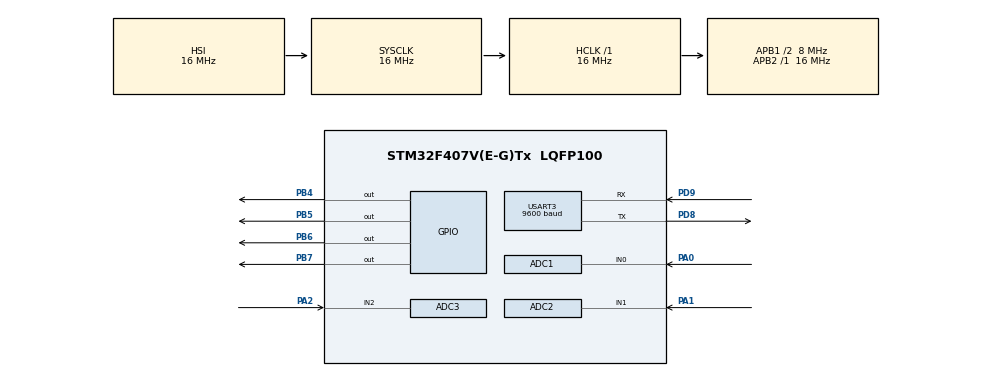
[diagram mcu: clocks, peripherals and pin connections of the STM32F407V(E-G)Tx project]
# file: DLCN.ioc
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ADC1.Channel-0\#ChannelRegularConversion=ADC_CHANNEL_0
ADC1.NbrOfConversion=1
ADC1.NbrOfConversionFlag=1
ADC1.Rank-0\#ChannelRegularConversion=1
ADC1.SamplingTime-0\#ChannelRegularConversion=ADC_SAMPLETIME_3CYCLES
ADC1.master=1
ADC2.Channel-1\#ChannelRegularConversion=ADC_CHANNEL_1
ADC2.NbrOfConversionFlag=1
ADC2.Rank-1\#ChannelRegularConversion=1
ADC2.SamplingTime-1\#ChannelRegularConversion=ADC_SAMPLETIME_3CYCLES
ADC3.Channel-0\#ChannelRegularConversion=ADC_CHANNEL_2
ADC3.NbrOfConversionFlag=1
ADC3.Rank-0\#ChannelRegularConversion=1
ADC3.SamplingTime-0\#ChannelRegularConversion=ADC_SAMPLETIME_3CYCLES
Dma.Request0=USART3_RX
Dma.Request1=USART3_TX
Dma.USART3_RX.0.Direction=DMA_PERIPH_TO_MEMORY
Dma.USART3_RX.0.FIFOMode=DMA_FIFOMODE_DISABLE
Dma.USART3_RX.0.Instance=DMA1_Stream1
Dma.USART3_RX.0.MemDataAlignment=DMA_MDATAALIGN_BYTE
Dma.USART3_RX.0.MemInc=DMA_MINC_ENABLE
Dma.USART3_RX.0.Mode=DMA_CIRCULAR
Dma.USART3_RX.0.PeriphDataAlignment=DMA_PDATAALIGN_BYTE
Dma.USART3_RX.0.PeriphInc=DMA_PINC_DISABLE
Dma.USART3_RX.0.Priority=DMA_PRIORITY_LOW
Dma.USART3_TX.1.Direction=DMA_MEMORY_TO_PERIPH
Dma.USART3_TX.1.FIFOMode=DMA_FIFOMODE_DISABLE
Dma.USART3_TX.1.Instance=DMA1_Stream3
Dma.USART3_TX.1.MemDataAlignment=DMA_MDATAALIGN_BYTE
Dma.USART3_TX.1.MemInc=DMA_MINC_ENABLE
Dma.USART3_TX.1.Mode=DMA_CIRCULAR
Dma.USART3_TX.1.PeriphDataAlignment=DMA_PDATAALIGN_BYTE
Dma.USART3_TX.1.PeriphInc=DMA_PINC_DISABLE
Dma.USART3_TX.1.Priority=DMA_PRIORITY_LOW
FREERTOS.BinarySemaphores01=USART_SEMA,Dynamic,NULL
FREERTOS.Tasks01=defaultTask,1,128,Task1_ADC,Default,NULL,Dynamic,NULL,NULL;myTask02,0,128,Task2_TX,Default,NULL,Dynamic,NULL,NULL;myTask03,-1,128,Task3_RX,Default,NULL,Dynamic,NULL,NULL
Mcu.Family=STM32F4
Mcu.Name=STM32F407V(E-G)Tx
Mcu.Package=LQFP100
NVIC.DMA1_Stream1_IRQn=true\:5\:0\:false\:false\:true\:true\:false\:true\:true
NVIC.DMA1_Stream3_IRQn=true\:5\:0\:false\:false\:true\:true\:false\:true\:true
NVIC.PriorityGroup=NVIC_PRIORITYGROUP_4
NVIC.TIM4_IRQn=true\:15\:0\:false\:false\:true\:false\:false\:true\:true
NVIC.TimeBase=TIM4_IRQn
NVIC.TimeBaseIP=TIM4
PA0-WKUP.Signal=ADCx_IN0
PA1.Signal=ADCx_IN1
PA13.Mode=Serial_Wire
PA13.Signal=SYS_JTMS-SWDIO
PA14.Mode=Serial_Wire
PA14.Signal=SYS_JTCK-SWCLK
PA2.Signal=ADCx_IN2
PB4.Signal=GPIO_Output
PB5.Signal=GPIO_Output
PB6.Signal=GPIO_Output
PB7.Signal=GPIO_Output
PD8.Mode=Asynchronous
PD8.Signal=USART3_TX
PD9.Mode=Asynchronous
PD9.Signal=USART3_RX
PH0-OSC_IN.Mode=HSE-External-Oscillator
PH0-OSC_IN.Signal=RCC_OSC_IN
PH1-OSC_OUT.Mode=HSE-External-Oscillator
PH1-OSC_OUT.Signal=RCC_OSC_OUT
ProjectManager.HeapSize=0x200
ProjectManager.StackSize=0x400
ProjectManager.TargetToolchain=MDK-ARM V5.32
RCC.48MHZClocksFreq_Value=26041666.666666664
RCC.AHBFreq_Value=16000000
RCC.APB1CLKDivider=RCC_HCLK_DIV2
RCC.APB1Freq_Value=8000000
RCC.APB1TimFreq_Value=16000000
RCC.APB2Freq_Value=16000000
RCC.APB2TimFreq_Value=16000000
RCC.CortexFreq_Value=16000000
RCC.HCLKFreq_Value=16000000
RCC.HSE_VALUE=25000000
RCC.HSI_VALUE=16000000
RCC.LSE_VALUE=32768
RCC.PLLM=12
RCC.PLLN=50
RCC.PLLSourceVirtual=RCC_PLLSOURCE_HSE
RCC.SYSCLKFreq_VALUE=16000000
RCC.VCOOutputFreq_Value=104166666.66666666
SH.ADCx_IN0.0=ADC1_IN0,IN0
SH.ADCx_IN1.0=ADC2_IN1,IN1
SH.ADCx_IN2.0=ADC3_IN2,IN2
USART3.BaudRate=9600
USART3.VirtualMode=VM_ASYNC
VP_FREERTOS_VS_CMSIS_V1.Mode=CMSIS_V1
VP_SYS_VS_tim4.Mode=TIM4
board=custom

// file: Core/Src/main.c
/* USER CODE BEGIN Header */
/**
  ******************************************************************************
  * @file           : main.c
  * @brief          : Main program body
  ******************************************************************************
  * @attention
  *
  * Copyright (c) 2023 STMicroelectronics.
  * All rights reserved.
  *
  * This software is licensed under terms that can be found in the LICENSE file
  * in the root directory of this software component.
  * If no LICENSE file comes with this software, it is provided AS-IS.
  *
  ******************************************************************************
  */
/* USER CODE END Header */
#include "main.h"
#include "cmsis_os.h"

ADC_HandleTypeDef hadc1;
ADC_HandleTypeDef hadc2;
ADC_HandleTypeDef hadc3;

UART_HandleTypeDef huart3;
DMA_HandleTypeDef hdma_usart3_rx;
DMA_HandleTypeDef hdma_usart3_tx;

osThreadId defaultTaskHandle;
osThreadId myTask02Handle;
osThreadId myTask03Handle;
osSemaphoreId USART_SEMAHandle;
/* USER CODE BEGIN PV */
__IO uint32_t TX_Buffer[5];
__IO uint8_t RX_Buffer[8];
uint32_t Process_value(uint32_t value);
/* USER CODE END PV */

void SystemClock_Config(void);
static void MX_GPIO_Init(void);
static void MX_DMA_Init(void);
static void MX_ADC1_Init(void);
static void MX_ADC2_Init(void);
static void MX_ADC3_Init(void);
static void MX_USART3_UART_Init(void);
void Task1_ADC(void const * argument);
void Task2_TX(void const * argument);
void Task3_RX(void const * argument);

/* USER CODE BEGIN 0 */
uint32_t Process_value(uint32_t value)
{
	uint32_t i,output = 0;
	for (i = 1; i <= 4; i++)
	{
		output <<= 8;
		output = output + ((value%10)+48);
		value /= 10;
	}
	return output;
}
/* USER CODE END 0 */

int main(void)
{

  /* MCU Configuration--------------------------------------------------------*/

  /* Reset of all peripherals, Initializes the Flash interface and the Systick. */
  HAL_Init();

  /* Configure the system clock */
  SystemClock_Config();

  /* Initialize all configured peripherals */
  MX_GPIO_Init();
  MX_DMA_Init();
  MX_ADC1_Init();
  MX_ADC2_Init();
  MX_ADC3_Init();
  MX_USART3_UART_Init();

  /* Create the semaphores(s) */
  /* definition and creation of USART_SEMA */
  osSemaphoreDef(USART_SEMA);
  USART_SEMAHandle = osSemaphoreCreate(osSemaphore(USART_SEMA), 1);

  /* Create the thread(s) */
  /* definition and creation of defaultTask */
  osThreadDef(defaultTask, Task1_ADC, osPriorityAboveNormal, 0, 128);
  defaultTaskHandle = osThreadCreate(osThread(defaultTask), NULL);

  /* definition and creation of myTask02 */
  osThreadDef(myTask02, Task2_TX, osPriorityNormal, 0, 128);
  myTask02Handle = osThreadCreate(osThread(myTask02), NULL);

  /* definition and creation of myTask03 */
  osThreadDef(myTask03, Task3_RX, osPriorityBelowNormal, 0, 128);
  myTask03Handle = osThreadCreate(osThread(myTask03), NULL);

  /* Start scheduler */
  osKernelStart();
  /* We should never get here as control is now taken by the scheduler */
  /* Infinite loop */
while (1)
  {

  }
}

void SystemClock_Config(void)
{
  RCC_OscInitTypeDef RCC_OscInitStruct = {0};
  RCC_ClkInitTypeDef RCC_ClkInitStruct = {0};

  /** Configure the main internal regulator output voltage
  */
  __HAL_RCC_PWR_CLK_ENABLE();
  __HAL_PWR_VOLTAGESCALING_CONFIG(PWR_REGULATOR_VOLTAGE_SCALE1);

  /** Initializes the RCC Oscillators according to the specified parameters
  * in the RCC_OscInitTypeDef structure.
  */
  RCC_OscInitStruct.OscillatorType = RCC_OSCILLATORTYPE_HSI;
  RCC_OscInitStruct.HSIState = RCC_HSI_ON;
  RCC_OscInitStruct.HSICalibrationValue = RCC_HSICALIBRATION_DEFAULT;
  RCC_OscInitStruct.PLL.PLLState = RCC_PLL_NONE;
  if (HAL_RCC_OscConfig(&RCC_OscInitStruct) != HAL_OK)
  {
    Error_Handler();
  }

  /** Initializes the CPU, AHB and APB buses clocks
  */
  RCC_ClkInitStruct.ClockType = RCC_CLOCKTYPE_HCLK|RCC_CLOCKTYPE_SYSCLK
                              |RCC_CLOCKTYPE_PCLK1|RCC_CLOCKTYPE_PCLK2;
  RCC_ClkInitStruct.SYSCLKSource = RCC_SYSCLKSOURCE_HSI;
  RCC_ClkInitStruct.AHBCLKDivider = RCC_SYSCLK_DIV1;
  RCC_ClkInitStruct.APB1CLKDivider = RCC_HCLK_DIV2;
  RCC_ClkInitStruct.APB2CLKDivider = RCC_HCLK_DIV1;

  if (HAL_RCC_ClockConfig(&RCC_ClkInitStruct, FLASH_LATENCY_0) != HAL_OK)
  {
    Error_Handler();
  }
}

static void MX_ADC1_Init(void)
{

  ADC_ChannelConfTypeDef sConfig = {0};

  /** Configure the global features of the ADC (Clock, Resolution, Data Alignment and number of conversion)
  */
  hadc1.Instance = ADC1;
  hadc1.Init.ClockPrescaler = ADC_CLOCK_SYNC_PCLK_DIV2;
  hadc1.Init.Resolution = ADC_RESOLUTION_12B;
  hadc1.Init.ScanConvMode = DISABLE;
  hadc1.Init.ContinuousConvMode = DISABLE;
  hadc1.Init.DiscontinuousConvMode = DISABLE;
  hadc1.Init.ExternalTrigConvEdge = ADC_EXTERNALTRIGCONVEDGE_NONE;
  hadc1.Init.ExternalTrigConv = ADC_SOFTWARE_START;
  hadc1.Init.DataAlign = ADC_DATAALIGN_RIGHT;
  hadc1.Init.NbrOfConversion = 1;
  hadc1.Init.DMAContinuousRequests = DISABLE;
  hadc1.Init.EOCSelection = ADC_EOC_SINGLE_CONV;
  if (HAL_ADC_Init(&hadc1) != HAL_OK)
  {
    Error_Handler();
  }

  /** Configure for the selected ADC regular channel its corresponding rank in the sequencer and its sample time.
  */
  sConfig.Channel = ADC_CHANNEL_0;
  sConfig.Rank = 1;
  sConfig.SamplingTime = ADC_SAMPLETIME_3CYCLES;
  if (HAL_ADC_ConfigChannel(&hadc1, &sConfig) != HAL_OK)
  {
    Error_Handler();
  }

}

static void MX_ADC2_Init(void)
{

  ADC_ChannelConfTypeDef sConfig = {0};

  /** Configure the global features of the ADC (Clock, Resolution, Data Alignment and number of conversion)
  */
  hadc2.Instance = ADC2;
  hadc2.Init.ClockPrescaler = ADC_CLOCK_SYNC_PCLK_DIV2;
  hadc2.Init.Resolution = ADC_RESOLUTION_12B;
  hadc2.Init.ScanConvMode = DISABLE;
  hadc2.Init.ContinuousConvMode = DISABLE;
  hadc2.Init.DiscontinuousConvMode = DISABLE;
  hadc2.Init.ExternalTrigConvEdge = ADC_EXTERNALTRIGCONVEDGE_NONE;
  hadc2.Init.ExternalTrigConv = ADC_SOFTWARE_START;
  hadc2.Init.DataAlign = ADC_DATAALIGN_RIGHT;
  hadc2.Init.NbrOfConversion = 1;
  hadc2.Init.DMAContinuousRequests = DISABLE;
  hadc2.Init.EOCSelection = ADC_EOC_SINGLE_CONV;
  if (HAL_ADC_Init(&hadc2) != HAL_OK)
  {
    Error_Handler();
  }

  /** Configure for the selected ADC regular channel its corresponding rank in the sequencer and its sample time.
  */
  sConfig.Channel = ADC_CHANNEL_1;
  sConfig.Rank = 1;
  sConfig.SamplingTime = ADC_SAMPLETIME_3CYCLES;
  if (HAL_ADC_ConfigChannel(&hadc2, &sConfig) != HAL_OK)
  {
    Error_Handler();
  }

}

static void MX_ADC3_Init(void)
{

  ADC_ChannelConfTypeDef sConfig = {0};

  /** Configure the global features of the ADC (Clock, Resolution, Data Alignment and number of conversion)
  */
  hadc3.Instance = ADC3;
  hadc3.Init.ClockPrescaler = ADC_CLOCK_SYNC_PCLK_DIV2;
  hadc3.Init.Resolution = ADC_RESOLUTION_12B;
  hadc3.Init.ScanConvMode = DISABLE;
  hadc3.Init.ContinuousConvMode = DISABLE;
  hadc3.Init.DiscontinuousConvMode = DISABLE;
  hadc3.Init.ExternalTrigConvEdge = ADC_EXTERNALTRIGCONVEDGE_NONE;
  hadc3.Init.ExternalTrigConv = ADC_SOFTWARE_START;
  hadc3.Init.DataAlign = ADC_DATAALIGN_RIGHT;
  hadc3.Init.NbrOfConversion = 1;
  hadc3.Init.DMAContinuousRequests = DISABLE;
  hadc3.Init.EOCSelection = ADC_EOC_SINGLE_CONV;
  if (HAL_ADC_Init(&hadc3) != HAL_OK)
  {
    Error_Handler();
  }

  /** Configure for the selected ADC regular channel its corresponding rank in the sequencer and its sample time.
  */
  sConfig.Channel = ADC_CHANNEL_2;
  sConfig.Rank = 1;
  sConfig.SamplingTime = ADC_SAMPLETIME_3CYCLES;
  if (HAL_ADC_ConfigChannel(&hadc3, &sConfig) != HAL_OK)
  {
    Error_Handler();
  }

}

static void MX_USART3_UART_Init(void)
{

  huart3.Instance = USART3;
  huart3.Init.BaudRate = 9600;
  huart3.Init.WordLength = UART_WORDLENGTH_8B;
  huart3.Init.StopBits = UART_STOPBITS_1;
  huart3.Init.Parity = UART_PARITY_NONE;
  huart3.Init.Mode = UART_MODE_TX_RX;
  huart3.Init.HwFlowCtl = UART_HWCONTROL_NONE;
  huart3.Init.OverSampling = UART_OVERSAMPLING_16;
  if (HAL_UART_Init(&huart3) != HAL_OK)
  {
    Error_Handler();
  }

}

static void MX_DMA_Init(void)
{

  /* DMA controller clock enable */
  __HAL_RCC_DMA1_CLK_ENABLE();

  /* DMA interrupt init */
  /* DMA1_Stream1_IRQn interrupt configuration */
  HAL_NVIC_SetPriority(DMA1_Stream1_IRQn, 5, 0);
  HAL_NVIC_EnableIRQ(DMA1_Stream1_IRQn);
  /* DMA1_Stream3_IRQn interrupt configuration */
  HAL_NVIC_SetPriority(DMA1_Stream3_IRQn, 5, 0);
  HAL_NVIC_EnableIRQ(DMA1_Stream3_IRQn);

}

static void MX_GPIO_Init(void)
{
  GPIO_InitTypeDef GPIO_InitStruct = {0};

  /* GPIO Ports Clock Enable */
  __HAL_RCC_GPIOH_CLK_ENABLE();
  __HAL_RCC_GPIOA_CLK_ENABLE();
  __HAL_RCC_GPIOD_CLK_ENABLE();
  __HAL_RCC_GPIOB_CLK_ENABLE();

  /*Configure GPIO pin Output Level */
  HAL_GPIO_WritePin(GPIOB, GPIO_PIN_4|GPIO_PIN_5|GPIO_PIN_6|GPIO_PIN_7, GPIO_PIN_RESET);

  /*Configure GPIO pins : PB4 PB5 PB6 PB7 */
  GPIO_InitStruct.Pin = GPIO_PIN_4|GPIO_PIN_5|GPIO_PIN_6|GPIO_PIN_7;
  GPIO_InitStruct.Mode = GPIO_MODE_OUTPUT_PP;
  GPIO_InitStruct.Pull = GPIO_NOPULL;
  GPIO_InitStruct.Speed = GPIO_SPEED_FREQ_LOW;
  HAL_GPIO_Init(GPIOB, &GPIO_InitStruct);

}

void Task1_ADC(void const * argument)
{
  /* USER CODE BEGIN 5 */
  /* Infinite loop */
  for(;;)
  {
		HAL_ADC_Start(&hadc1);
		HAL_ADC_PollForConversion(&hadc1, 100);
		TX_Buffer[0] = Process_value(HAL_ADC_GetValue(&hadc1) * 5000/0xFFF);
		HAL_ADC_Stop(&hadc1);
		HAL_ADC_Start(&hadc2);
		HAL_ADC_PollForConversion(&hadc2, 100);
		TX_Buffer[1] = Process_value(HAL_ADC_GetValue(&hadc2) * 5000/0xFFF);
		HAL_ADC_Stop(&hadc2);
		HAL_ADC_Start(&hadc3);
		HAL_ADC_PollForConversion(&hadc3, 100);
		TX_Buffer[2] = Process_value(HAL_ADC_GetValue(&hadc3) * 5000/0xFFF);
		HAL_ADC_Stop(&hadc3);
		TX_Buffer[3] = '\r';
		TX_Buffer[4] = '\n';
    osDelay(100);
  }
  /* USER CODE END 5 */
}

void Task2_TX(void const * argument)
{
  /* USER CODE BEGIN Task2_TX */
  /* Infinite loop */
  for(;;)
  {
		osSemaphoreWait(USART_SEMAHandle, osWaitForever);
		HAL_UART_Transmit_DMA(&huart3, (uint8_t *)TX_Buffer, sizeof(TX_Buffer));
		osSemaphoreRelease(USART_SEMAHandle);
		osDelay(1000);
  }
  /* USER CODE END Task2_TX */
}

void Task3_RX(void const * argument)
{
  /* USER CODE BEGIN Task3_RX */
  /* Infinite loop */
  for(;;)
  {
		osSemaphoreWait(USART_SEMAHandle, osWaitForever);
		HAL_UART_Receive_DMA(&huart3, (uint8_t *)RX_Buffer, sizeof(RX_Buffer));
		if (RX_Buffer[1] == '1') HAL_GPIO_WritePin(GPIOB,GPIO_PIN_6,GPIO_PIN_SET);
		else HAL_GPIO_WritePin(GPIOB,GPIO_PIN_6,GPIO_PIN_RESET);
		if (RX_Buffer[3] == '1') HAL_GPIO_WritePin(GPIOB,GPIO_PIN_7,GPIO_PIN_SET);
		else HAL_GPIO_WritePin(GPIOB,GPIO_PIN_7,GPIO_PIN_RESET);
		if (RX_Buffer[5] == '1') HAL_GPIO_WritePin(GPIOB,GPIO_PIN_4,GPIO_PIN_SET);
		else HAL_GPIO_WritePin(GPIOB,GPIO_PIN_4,GPIO_PIN_RESET);
		if (RX_Buffer[7] == '1') HAL_GPIO_WritePin(GPIOB,GPIO_PIN_5,GPIO_PIN_SET);
		else HAL_GPIO_WritePin(GPIOB,GPIO_PIN_5,GPIO_PIN_RESET);
		osSemaphoreRelease(USART_SEMAHandle);
    osDelay(100);
  }
  /* USER CODE END Task3_RX */
}

void HAL_TIM_PeriodElapsedCallback(TIM_HandleTypeDef *htim)
{
  if (htim->Instance == TIM4) {
    HAL_IncTick();
  }
}

void Error_Handler(void)
{
  __disable_irq();
  while (1)
  {
  }
}
